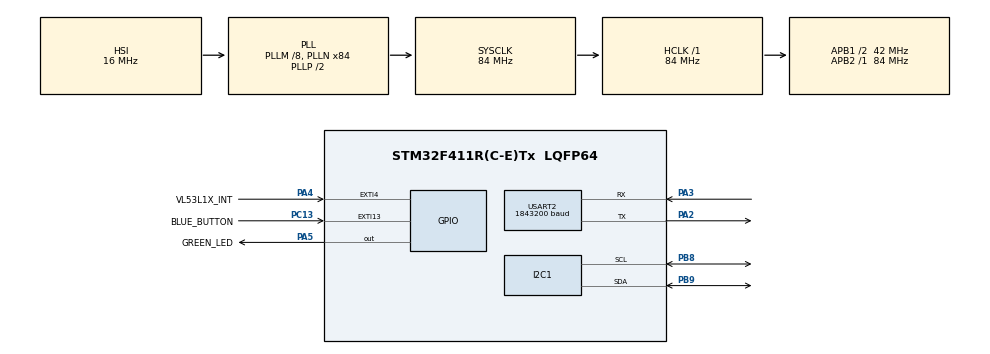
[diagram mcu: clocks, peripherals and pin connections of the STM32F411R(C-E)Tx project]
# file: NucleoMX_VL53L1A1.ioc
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Dma.Request0=USART2_RX
Dma.USART2_RX.0.Direction=DMA_PERIPH_TO_MEMORY
Dma.USART2_RX.0.FIFOMode=DMA_FIFOMODE_DISABLE
Dma.USART2_RX.0.Instance=DMA1_Stream5
Dma.USART2_RX.0.MemDataAlignment=DMA_MDATAALIGN_BYTE
Dma.USART2_RX.0.MemInc=DMA_MINC_ENABLE
Dma.USART2_RX.0.Mode=DMA_CIRCULAR
Dma.USART2_RX.0.PeriphDataAlignment=DMA_PDATAALIGN_BYTE
Dma.USART2_RX.0.PeriphInc=DMA_PINC_DISABLE
Dma.USART2_RX.0.Priority=DMA_PRIORITY_LOW
I2C1.I2C_Mode=I2C_Fast
Mcu.Family=STM32F4
Mcu.Name=STM32F411R(C-E)Tx
Mcu.Package=LQFP64
NVIC.DMA1_Stream5_IRQn=true\:0\:0\:false\:false\:true\:false\:true\:true
NVIC.EXTI15_10_IRQn=true\:0\:0\:false\:false\:true\:true\:true\:true
NVIC.EXTI4_IRQn=true\:0\:0\:false\:false\:true\:true\:true\:true
NVIC.PriorityGroup=NVIC_PRIORITYGROUP_2
NVIC.TIM1_UP_TIM10_IRQn=true\:3\:0\:false\:false\:true\:false\:true\:true
NVIC.TIM2_IRQn=true\:0\:0\:false\:false\:true\:true\:true\:true
NVIC.TIM5_IRQn=true\:0\:0\:false\:false\:true\:true\:true\:true
NVIC.TimeBase=TIM1_UP_TIM10_IRQn
NVIC.TimeBaseIP=TIM1
PA13.GPIO_Label=TMS
PA13.Mode=Serial_Wire
PA13.Signal=SYS_JTMS-SWDIO
PA14.GPIO_Label=TCK
PA14.Mode=Serial_Wire
PA14.Signal=SYS_JTCK-SWCLK
PA2.GPIO_Speed=GPIO_SPEED_FREQ_LOW
PA2.Mode=Asynchronous
PA2.Signal=USART2_TX
PA3.GPIO_Speed=GPIO_SPEED_FREQ_LOW
PA3.Mode=Asynchronous
PA3.Signal=USART2_RX
PA4.GPIO_Label=VL53L1X_INT
PA4.GPIO_ModeDefaultEXTI=GPIO_MODE_IT_FALLING
PA4.GPIO_PuPd=GPIO_PULLUP
PA4.Signal=GPXTI4
PA5.GPIO_Label=GREEN_LED
PA5.Signal=GPIO_Output
PB3.GPIO_Label=SWO
PB3.Signal=SYS_JTDO-SWO
PB8.GPIO_Pu=GPIO_NOPULL
PB8.Mode=I2C
PB8.Signal=I2C1_SCL
PB9.GPIO_Pu=GPIO_NOPULL
PB9.Mode=I2C
PB9.Signal=I2C1_SDA
PC13-ANTI_TAMP.GPIO_Label=BLUE_BUTTON
PC13-ANTI_TAMP.Signal=GPXTI13
PC14-OSC32_IN.Mode=LSE-External-Oscillator
PC14-OSC32_IN.Signal=RCC_OSC32_IN
PC15-OSC32_OUT.Mode=LSE-External-Oscillator
PC15-OSC32_OUT.Signal=RCC_OSC32_OUT
PH0\ -\ OSC_IN.Mode=HSE-External-Clock-Source
PH0\ -\ OSC_IN.Signal=RCC_OSC_IN
PH1\ -\ OSC_OUT.Mode=HSE-External-Clock-Source
PH1\ -\ OSC_OUT.Signal=RCC_OSC_OUT
ProjectManager.HeapSize=0x200
ProjectManager.StackSize=0x400
ProjectManager.TargetToolchain=Makefile
RCC.48MHZClocksFreq_Value=42000000
RCC.AHBFreq_Value=84000000
RCC.APB1CLKDivider=RCC_HCLK_DIV2
RCC.APB1Freq_Value=42000000
RCC.APB1TimFreq_Value=84000000
RCC.APB2Freq_Value=84000000
RCC.APB2TimFreq_Value=84000000
RCC.CortexFreq_Value=84000000
RCC.FLatency-AdvancedSettings=FLASH_LATENCY_2
RCC.HCLKFreq_Value=84000000
RCC.HSE_VALUE=8000000
RCC.HSI_VALUE=16000000
RCC.PLLM=8
RCC.PLLN=84
RCC.SYSCLKFreq_VALUE=84000000
RCC.SYSCLKSource=RCC_SYSCLKSOURCE_PLLCLK
RCC.VCOOutputFreq_Value=168000000
TIM2.AutoReloadPreload=TIM_AUTORELOAD_PRELOAD_ENABLE
TIM2.Period=1000-1
TIM2.Prescaler=1000-1
TIM5.AutoReloadPreload=TIM_AUTORELOAD_PRELOAD_ENABLE
USART2.BaudRate=1843200
USART2.Parity=PARITY_EVEN
USART2.StopBits=STOPBITS_2
USART2.VirtualMode=VM_ASYNC
USART2.WordLength=WORDLENGTH_9B
VP_SYS_VS_tim1.Mode=TIM1
VP_TIM2_VS_ClockSourceINT.Mode=Internal
VP_TIM5_VS_ClockSourceINT.Mode=Internal
board=NUCLEO-F411RE

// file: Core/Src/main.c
/* USER CODE BEGIN Header */
/**
  ******************************************************************************
  * @file           : main.c
  * @brief          : Main program body
  ******************************************************************************
  * @attention
  *
  * Copyright (c) 2024 STMicroelectronics.
  * All rights reserved.
  *
  * This software is licensed under terms that can be found in the LICENSE file
  * in the root directory of this software component.
  * If no LICENSE file comes with this software, it is provided AS-IS.
  *
  ******************************************************************************
  */
/* USER CODE END Header */
#include "main.h"

/* USER CODE BEGIN Includes */
#include "VL53L1A1_Simulink.h"
#include <stdio.h>
/* USER CODE END Includes */

I2C_HandleTypeDef hi2c1;

TIM_HandleTypeDef htim2;
TIM_HandleTypeDef htim5;

UART_HandleTypeDef huart2;
DMA_HandleTypeDef hdma_usart2_rx;

/* USER CODE BEGIN PV */
extern uint8_t L1_BUFFER_SIZE;

const uint8_t* header = 'A_J';
const uint8_t* terminator = 'J_A';

const uint8_t expectedHeader[3] = {'J', '_', 'A'};
const uint8_t expectedTerminator[3] = {'A', '_', 'J'};

const int numberOfSimulinkBytes = 4*(2);
uint8_t bigBuffer[8+3+3] = {0};
uint8_t clearToSend = 0;
uint8_t calibrated = 0;
int32_t counter = 0;
uint8_t clearToGetL1 = 0;

int32_t tof_fsr = 1;
int32_t tof_odr   = 30;
uint16_t rangingProfile = 1;
uint16_t timingBudget   = 30;
uint32_t pollingPeriod  = 250;

VL53L1_Result TOF_left_result;
VL53L1_Result TOF_centre_result;
VL53L1_Result TOF_right_result;

volatile int IntCount;
#define isInterrupt 0 /* If isInterrupt = 1 then device working in interrupt mode, else device working in polling mode */

/* USER CODE END PV */

void SystemClock_Config(void);
static void MX_TIM2_Init(void);
static void MX_USART2_UART_Init(void);
static void MX_TIM5_Init(void);
static void MX_I2C1_Init(void);

/* USER CODE BEGIN 0 */

void configureTimer(float desired_frequency, TIM_TypeDef* tim) {
    // Assuming the clock frequency driving the timer is 100 MHz
    float clock_frequency = SystemCoreClock; // 100 MHz

    // Calculate the required total timer period in timer clock cycles
    float timer_period = clock_frequency / desired_frequency;

    // Choose a suitable prescaler (PSC) to fit the period within ARR's range
    uint32_t prescaler = (uint32_t)(timer_period / 65536.0f); // PSC ensures ARR <= 65535
    if (prescaler > 65535) {
        prescaler = 65535; // Cap PSC if it exceeds 16-bit value
    }

    // Calculate the ARR based on the chosen PSC
    uint64_t arr = (uint64_t)(timer_period / (prescaler + 1));

    // Update the timer registers
    tim->PSC = prescaler;   // Set the prescaler
    tim->ARR = arr;         // Set the auto-reload register

    // Reload the timer settings to apply the changes immediately
    tim->EGR = TIM_EGR_UG;  // Generate an update event to reload PSC and ARR
}

void initialCalibration(){
  HAL_UART_Receive(&huart2,(uint8_t *) &bigBuffer, (size_t) (numberOfSimulinkBytes+3+3),1);
  if (bigBuffer[0] == expectedHeader[0] &&
      bigBuffer[1] == expectedHeader[1] &&
      bigBuffer[2] == expectedHeader[2] &&
      bigBuffer[numberOfSimulinkBytes+3+0] == expectedTerminator[0] &&
      bigBuffer[numberOfSimulinkBytes+3+1] == expectedTerminator[1] &&
      bigBuffer[numberOfSimulinkBytes+3+2] == expectedTerminator[2]){
        calibrated = 1;
        receivedFromSimulink(&bigBuffer);
  }
}

void receivedFromSimulink(uint8_t* bigBuffer){
    tof_fsr = bytesToInt32(bigBuffer[3  + 0] , bigBuffer[3  + 1] , bigBuffer[3  + 2] ,  bigBuffer[3  + 3] );
    tof_odr = bytesToInt32(bigBuffer[3  + 4] , bigBuffer[3  + 5] , bigBuffer[3  + 6] ,  bigBuffer[3  + 7] );

    if (tof_fsr == 1){
      rangingProfile = 1;
    }
    if (tof_fsr == 2){
      rangingProfile = 2;
    }

    timingBudget = 1000/tof_odr;
    pollingPeriod = timingBudget + 10;
}

void sendToSimulink(){
    HAL_UART_Transmit(&huart2, (uint8_t *) &header           ,3 , HAL_MAX_DELAY);

    HAL_UART_Transmit(&huart2, &(TOF_left_result.Distance)  , 4 , HAL_MAX_DELAY);
    HAL_UART_Transmit(&huart2, &(TOF_left_result.Ambient )  , 4 , HAL_MAX_DELAY);
    HAL_UART_Transmit(&huart2, &(TOF_left_result.Signal  )  , 4 , HAL_MAX_DELAY);
    HAL_UART_Transmit(&huart2, &(TOF_left_result.Status  )  , 4 , HAL_MAX_DELAY);

    HAL_UART_Transmit(&huart2,  &(TOF_centre_result.Distance)  , 4 , HAL_MAX_DELAY);
    HAL_UART_Transmit(&huart2,  &(TOF_centre_result.Ambient )  , 4 , HAL_MAX_DELAY);
    HAL_UART_Transmit(&huart2,  &(TOF_centre_result.Signal  )  , 4 , HAL_MAX_DELAY);
    HAL_UART_Transmit(&huart2,  &(TOF_centre_result.Status  )  , 4 , HAL_MAX_DELAY);

    HAL_UART_Transmit(&huart2,  &(TOF_right_result.Distance)  , 4 , HAL_MAX_DELAY);
    HAL_UART_Transmit(&huart2,  &(TOF_right_result.Ambient )  , 4 , HAL_MAX_DELAY);
    HAL_UART_Transmit(&huart2,  &(TOF_right_result.Signal  )  , 4 , HAL_MAX_DELAY);
    HAL_UART_Transmit(&huart2,  &(TOF_right_result.Status  )  , 4 , HAL_MAX_DELAY);

    HAL_UART_Transmit(&huart2, (uint32_t *) &counter         ,4 , HAL_MAX_DELAY);
    HAL_UART_Transmit(&huart2, (uint8_t *) &terminator       ,3 , HAL_MAX_DELAY);
}

/* USER CODE END 0 */

int main(void)
{

  /* MCU Configuration--------------------------------------------------------*/

  /* Reset of all peripherals, Initializes the Flash interface and the Systick. */
  HAL_Init();

  /* Configure the system clock */
  SystemClock_Config();

  /* Initialize all configured peripherals */
  MX_GPIO_Init();
  MX_DMA_Init();
  MX_TIM2_Init();
  MX_USART2_UART_Init();
  MX_TIM5_Init();
  MX_I2C1_Init();
  /* USER CODE BEGIN 2 */

  while (calibrated != 1){
    initialCalibration();
  }

  XNUCLEO53L1A1_Init(); // initializes GPIO Expanders

  TOF_left_result.Address = ToF_Left;
  TOF_centre_result.Address = ToF_Centre;
  TOF_right_result.Address = ToF_Right;

  initVL53L1A1(XNUCLEO53L1A1_DEV_LEFT,   ToF_Left);
  initVL53L1A1(XNUCLEO53L1A1_DEV_CENTER, ToF_Centre);
  initVL53L1A1(XNUCLEO53L1A1_DEV_RIGHT,  ToF_Right);

  configureTimer(tof_odr,TIM2);
  HAL_TIM_Base_Start_IT(&htim2);
  /* USER CODE END 2 */

  /* Infinite loop */
  /* USER CODE BEGIN WHILE */

  while (1)
  {
    if (clearToGetL1 == 1){
      getVL53L1A1(&TOF_left_result);
      getVL53L1A1(&TOF_centre_result);
      getVL53L1A1(&TOF_right_result);
      clearToGetL1 = 0;
    }

    /* USER CODE END WHILE */

  }
}

void SystemClock_Config(void)
{
  RCC_OscInitTypeDef RCC_OscInitStruct = {0};
  RCC_ClkInitTypeDef RCC_ClkInitStruct = {0};

  /** Configure the main internal regulator output voltage
  */
  __HAL_RCC_PWR_CLK_ENABLE();
  __HAL_PWR_VOLTAGESCALING_CONFIG(PWR_REGULATOR_VOLTAGE_SCALE1);

  /** Initializes the RCC Oscillators according to the specified parameters
  * in the RCC_OscInitTypeDef structure.
  */
  RCC_OscInitStruct.OscillatorType = RCC_OSCILLATORTYPE_HSI;
  RCC_OscInitStruct.HSIState = RCC_HSI_ON;
  RCC_OscInitStruct.HSICalibrationValue = RCC_HSICALIBRATION_DEFAULT;
  RCC_OscInitStruct.PLL.PLLState = RCC_PLL_ON;
  RCC_OscInitStruct.PLL.PLLSource = RCC_PLLSOURCE_HSI;
  RCC_OscInitStruct.PLL.PLLM = 8;
  RCC_OscInitStruct.PLL.PLLN = 84;
  RCC_OscInitStruct.PLL.PLLP = RCC_PLLP_DIV2;
  RCC_OscInitStruct.PLL.PLLQ = 4;
  if (HAL_RCC_OscConfig(&RCC_OscInitStruct) != HAL_OK)
  {
    Error_Handler();
  }

  /** Initializes the CPU, AHB and APB buses clocks
  */
  RCC_ClkInitStruct.ClockType = RCC_CLOCKTYPE_HCLK|RCC_CLOCKTYPE_SYSCLK
                              |RCC_CLOCKTYPE_PCLK1|RCC_CLOCKTYPE_PCLK2;
  RCC_ClkInitStruct.SYSCLKSource = RCC_SYSCLKSOURCE_PLLCLK;
  RCC_ClkInitStruct.AHBCLKDivider = RCC_SYSCLK_DIV1;
  RCC_ClkInitStruct.APB1CLKDivider = RCC_HCLK_DIV2;
  RCC_ClkInitStruct.APB2CLKDivider = RCC_HCLK_DIV1;

  if (HAL_RCC_ClockConfig(&RCC_ClkInitStruct, FLASH_LATENCY_2) != HAL_OK)
  {
    Error_Handler();
  }
}

static void MX_I2C1_Init(void)
{

  hi2c1.Instance = I2C1;
  hi2c1.Init.ClockSpeed = 400000;
  hi2c1.Init.DutyCycle = I2C_DUTYCYCLE_2;
  hi2c1.Init.OwnAddress1 = 0;
  hi2c1.Init.AddressingMode = I2C_ADDRESSINGMODE_7BIT;
  hi2c1.Init.DualAddressMode = I2C_DUALADDRESS_DISABLE;
  hi2c1.Init.OwnAddress2 = 0;
  hi2c1.Init.GeneralCallMode = I2C_GENERALCALL_DISABLE;
  hi2c1.Init.NoStretchMode = I2C_NOSTRETCH_DISABLE;
  if (HAL_I2C_Init(&hi2c1) != HAL_OK)
  {
    Error_Handler();
  }

}

static void MX_TIM2_Init(void)
{

  TIM_ClockConfigTypeDef sClockSourceConfig = {0};
  TIM_MasterConfigTypeDef sMasterConfig = {0};

  htim2.Instance = TIM2;
  htim2.Init.Prescaler = 1000-1;
  htim2.Init.CounterMode = TIM_COUNTERMODE_UP;
  htim2.Init.Period = 1000-1;
  htim2.Init.ClockDivision = TIM_CLOCKDIVISION_DIV1;
  htim2.Init.AutoReloadPreload = TIM_AUTORELOAD_PRELOAD_ENABLE;
  if (HAL_TIM_Base_Init(&htim2) != HAL_OK)
  {
    Error_Handler();
  }
  sClockSourceConfig.ClockSource = TIM_CLOCKSOURCE_INTERNAL;
  if (HAL_TIM_ConfigClockSource(&htim2, &sClockSourceConfig) != HAL_OK)
  {
    Error_Handler();
  }
  sMasterConfig.MasterOutputTrigger = TIM_TRGO_RESET;
  sMasterConfig.MasterSlaveMode = TIM_MASTERSLAVEMODE_DISABLE;
  if (HAL_TIMEx_MasterConfigSynchronization(&htim2, &sMasterConfig) != HAL_OK)
  {
    Error_Handler();
  }

}

static void MX_TIM5_Init(void)
{

  TIM_ClockConfigTypeDef sClockSourceConfig = {0};
  TIM_MasterConfigTypeDef sMasterConfig = {0};

  htim5.Instance = TIM5;
  htim5.Init.Prescaler = 0;
  htim5.Init.CounterMode = TIM_COUNTERMODE_UP;
  htim5.Init.Period = 4294967295;
  htim5.Init.ClockDivision = TIM_CLOCKDIVISION_DIV1;
  htim5.Init.AutoReloadPreload = TIM_AUTORELOAD_PRELOAD_ENABLE;
  if (HAL_TIM_Base_Init(&htim5) != HAL_OK)
  {
    Error_Handler();
  }
  sClockSourceConfig.ClockSource = TIM_CLOCKSOURCE_INTERNAL;
  if (HAL_TIM_ConfigClockSource(&htim5, &sClockSourceConfig) != HAL_OK)
  {
    Error_Handler();
  }
  sMasterConfig.MasterOutputTrigger = TIM_TRGO_RESET;
  sMasterConfig.MasterSlaveMode = TIM_MASTERSLAVEMODE_DISABLE;
  if (HAL_TIMEx_MasterConfigSynchronization(&htim5, &sMasterConfig) != HAL_OK)
  {
    Error_Handler();
  }

}

static void MX_USART2_UART_Init(void)
{

  huart2.Instance = USART2;
  huart2.Init.BaudRate = 1843200;
  huart2.Init.WordLength = UART_WORDLENGTH_9B;
  huart2.Init.StopBits = UART_STOPBITS_2;
  huart2.Init.Parity = UART_PARITY_EVEN;
  huart2.Init.Mode = UART_MODE_TX_RX;
  huart2.Init.HwFlowCtl = UART_HWCONTROL_NONE;
  huart2.Init.OverSampling = UART_OVERSAMPLING_16;
  if (HAL_UART_Init(&huart2) != HAL_OK)
  {
    Error_Handler();
  }

}

void MX_DMA_Init(void)
{

  /* DMA controller clock enable */
  __HAL_RCC_DMA1_CLK_ENABLE();

  /* DMA interrupt init */
  /* DMA1_Stream5_IRQn interrupt configuration */
  HAL_NVIC_SetPriority(DMA1_Stream5_IRQn, 0, 0);
  HAL_NVIC_EnableIRQ(DMA1_Stream5_IRQn);

}

void MX_GPIO_Init(void)
{
  GPIO_InitTypeDef GPIO_InitStruct = {0};

  /* GPIO Ports Clock Enable */
  __HAL_RCC_GPIOC_CLK_ENABLE();
  __HAL_RCC_GPIOH_CLK_ENABLE();
  __HAL_RCC_GPIOA_CLK_ENABLE();
  __HAL_RCC_GPIOB_CLK_ENABLE();
  __HAL_RCC_GPIOD_CLK_ENABLE();

  /*Configure GPIO pin Output Level */
  HAL_GPIO_WritePin(GREEN_LED_GPIO_Port, GREEN_LED_Pin, GPIO_PIN_RESET);

  /*Configure GPIO pin : BLUE_BUTTON_Pin */
  GPIO_InitStruct.Pin = BLUE_BUTTON_Pin;
  GPIO_InitStruct.Mode = GPIO_MODE_IT_RISING;
  GPIO_InitStruct.Pull = GPIO_NOPULL;
  HAL_GPIO_Init(BLUE_BUTTON_GPIO_Port, &GPIO_InitStruct);

  /*Configure GPIO pins : PC0 PC1 PC2 PC3
                           PC4 PC5 PC6 PC7
                           PC8 PC9 PC10 PC11
                           PC12 */
  GPIO_InitStruct.Pin = GPIO_PIN_0|GPIO_PIN_1|GPIO_PIN_2|GPIO_PIN_3
                          |GPIO_PIN_4|GPIO_PIN_5|GPIO_PIN_6|GPIO_PIN_7
                          |GPIO_PIN_8|GPIO_PIN_9|GPIO_PIN_10|GPIO_PIN_11
                          |GPIO_PIN_12;
  GPIO_InitStruct.Mode = GPIO_MODE_ANALOG;
  GPIO_InitStruct.Pull = GPIO_NOPULL;
  HAL_GPIO_Init(GPIOC, &GPIO_InitStruct);

  /*Configure GPIO pins : PA0 PA1 PA6 PA7
                           PA8 PA9 PA10 PA11
                           PA12 PA15 */
  GPIO_InitStruct.Pin = GPIO_PIN_0|GPIO_PIN_1|GPIO_PIN_6|GPIO_PIN_7
                          |GPIO_PIN_8|GPIO_PIN_9|GPIO_PIN_10|GPIO_PIN_11
                          |GPIO_PIN_12|GPIO_PIN_15;
  GPIO_InitStruct.Mode = GPIO_MODE_ANALOG;
  GPIO_InitStruct.Pull = GPIO_NOPULL;
  HAL_GPIO_Init(GPIOA, &GPIO_InitStruct);

  /*Configure GPIO pin : VL53L1X_INT_Pin */
  GPIO_InitStruct.Pin = VL53L1X_INT_Pin;
  GPIO_InitStruct.Mode = GPIO_MODE_IT_FALLING;
  GPIO_InitStruct.Pull = GPIO_PULLUP;
  HAL_GPIO_Init(VL53L1X_INT_GPIO_Port, &GPIO_InitStruct);

  /*Configure GPIO pin : GREEN_LED_Pin */
  GPIO_InitStruct.Pin = GREEN_LED_Pin;
  GPIO_InitStruct.Mode = GPIO_MODE_OUTPUT_PP;
  GPIO_InitStruct.Pull = GPIO_NOPULL;
  GPIO_InitStruct.Speed = GPIO_SPEED_FREQ_LOW;
  HAL_GPIO_Init(GREEN_LED_GPIO_Port, &GPIO_InitStruct);

  /*Configure GPIO pins : PB0 PB1 PB2 PB10
                           PB12 PB13 PB14 PB15
                           PB4 PB5 PB6 PB7 */
  GPIO_InitStruct.Pin = GPIO_PIN_0|GPIO_PIN_1|GPIO_PIN_2|GPIO_PIN_10
                          |GPIO_PIN_12|GPIO_PIN_13|GPIO_PIN_14|GPIO_PIN_15
                          |GPIO_PIN_4|GPIO_PIN_5|GPIO_PIN_6|GPIO_PIN_7;
  GPIO_InitStruct.Mode = GPIO_MODE_ANALOG;
  GPIO_InitStruct.Pull = GPIO_NOPULL;
  HAL_GPIO_Init(GPIOB, &GPIO_InitStruct);

  /*Configure GPIO pin : PD2 */
  GPIO_InitStruct.Pin = GPIO_PIN_2;
  GPIO_InitStruct.Mode = GPIO_MODE_ANALOG;
  GPIO_InitStruct.Pull = GPIO_NOPULL;
  HAL_GPIO_Init(GPIOD, &GPIO_InitStruct);

  /* EXTI interrupt init*/
  HAL_NVIC_SetPriority(EXTI4_IRQn, 0, 0);
  HAL_NVIC_EnableIRQ(EXTI4_IRQn);

  HAL_NVIC_SetPriority(EXTI15_10_IRQn, 0, 0);
  HAL_NVIC_EnableIRQ(EXTI15_10_IRQn);

}

void HAL_TIM_PeriodElapsedCallback(TIM_HandleTypeDef *htim)
{
  if (htim->Instance == TIM1) {
    HAL_IncTick();
  }
}

void Error_Handler(void)
{
  __disable_irq();
  while (1)
  {
  }
}

#ifdef  USE_FULL_ASSERT
/**
  * @brief  Reports the name of the source file and the source line number
  *         where the assert_param error has occurred.
  * @param  file: pointer to the source file name
  * @param  line: assert_param error line source number
  * @retval None
  */
void assert_failed(uint8_t *file, uint32_t line)
{
  /* USER CODE BEGIN 6 */
  /* User can add his own implementation to report the file name and line number,
     ex: HAL_UART_Transmit(&huart2 , "Wrong parameters value: file %s on line %d\r\n", file, line) */
  /* USER CODE END 6 */
}
#endif /* USE_FULL_ASSERT */
